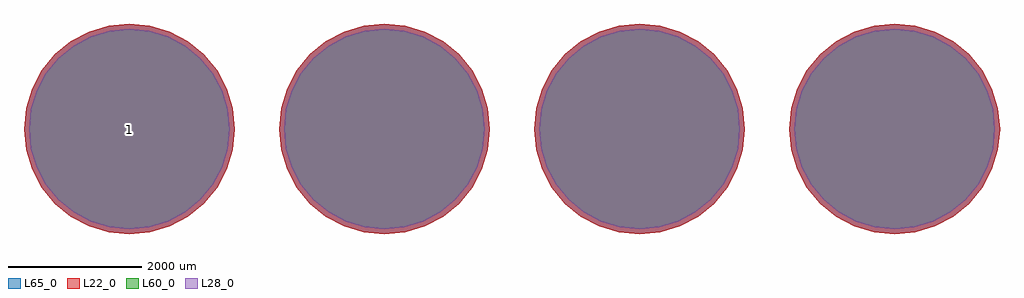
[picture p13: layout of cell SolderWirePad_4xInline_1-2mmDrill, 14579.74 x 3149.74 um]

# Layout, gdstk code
import gdstk
lib = gdstk.Library(unit=1e-6, precision=1e-09)
def P(c, l, *ps):  # polygons
    for p in ps: c.add(gdstk.Polygon(p, *l))
L22_0 = (22, 0)
L28_0 = (28, 0)
L60_0 = (60, 0)
L65_0 = (65, 0)

solderwirepad_4xinline_1 = lib.new_cell('SolderWirePad_4xInline_1-2mmDrill')
P(solderwirepad_4xinline_1, L22_0, [(7289.87,0),(7259.609,307.242),(7169.99,602.677),(7024.457,874.951),(6828.601,1113.601),(6589.951,1309.457),(6317.677,1454.99),(6022.242,1544.609),(5715,1574.87),(5407.758,1544.609),(5112.323,1454.99),(4840.049,1309.457),(4601.399,1113.601),(4405.543,874.951),(4260.01,602.677),(4170.391,307.242),(4140.13,0),(4170.391,-307.242),(4260.01,-602.677),(4405.543,-874.951),(4601.399,-1113.601),(4840.049,-1309.457),(5112.323,-1454.99),(5407.758,-1544.609),(5715,-1574.87),(6022.242,-1544.609),(6317.677,-1454.99),(6589.951,-1309.457),(6828.601,-1113.601),(7024.457,-874.951),(7169.99,-602.677),(7259.609,-307.242)],
  [(3479.87,0),(3449.609,307.242),(3359.99,602.677),(3214.457,874.951),(3018.601,1113.601),(2779.951,1309.457),(2507.677,1454.99),(2212.242,1544.609),(1905,1574.87),(1597.758,1544.609),(1302.323,1454.99),(1030.049,1309.457),(791.399,1113.601),(595.543,874.951),(450.01,602.677),(360.391,307.242),(330.13,0),(360.391,-307.242),(450.01,-602.677),(595.543,-874.951),(791.399,-1113.601),(1030.049,-1309.457),(1302.323,-1454.99),(1597.758,-1544.609),(1905,-1574.87),(2212.242,-1544.609),(2507.677,-1454.99),(2779.951,-1309.457),(3018.601,-1113.601),(3214.457,-874.951),(3359.99,-602.677),(3449.609,-307.242)],
  [(-330.13,0),(-360.391,307.242),(-450.01,602.677),(-595.543,874.951),(-791.399,1113.601),(-1030.049,1309.457),(-1302.323,1454.99),(-1597.758,1544.609),(-1905,1574.87),(-2212.242,1544.609),(-2507.677,1454.99),(-2779.951,1309.457),(-3018.601,1113.601),(-3214.457,874.951),(-3359.99,602.677),(-3449.609,307.242),(-3479.87,0),(-3449.609,-307.242),(-3359.99,-602.677),(-3214.457,-874.951),(-3018.601,-1113.601),(-2779.951,-1309.457),(-2507.677,-1454.99),(-2212.242,-1544.609),(-1905,-1574.87),(-1597.758,-1544.609),(-1302.323,-1454.99),(-1030.049,-1309.457),(-791.399,-1113.601),(-595.543,-874.951),(-450.01,-602.677),(-360.391,-307.242)],
  [(-4140.13,0),(-4170.391,307.242),(-4260.01,602.677),(-4405.543,874.951),(-4601.399,1113.601),(-4840.049,1309.457),(-5112.323,1454.99),(-5407.758,1544.609),(-5715,1574.87),(-6022.242,1544.609),(-6317.677,1454.99),(-6589.951,1309.457),(-6828.601,1113.601),(-7024.457,874.951),(-7169.99,602.677),(-7259.609,307.242),(-7289.87,0),(-7259.609,-307.242),(-7169.99,-602.677),(-7024.457,-874.951),(-6828.601,-1113.601),(-6589.951,-1309.457),(-6317.677,-1454.99),(-6022.242,-1544.609),(-5715,-1574.87),(-5407.758,-1544.609),(-5112.323,-1454.99),(-4840.049,-1309.457),(-4601.399,-1113.601),(-4405.543,-874.951),(-4260.01,-602.677),(-4170.391,-307.242)])
P(solderwirepad_4xinline_1, L28_0, [(7214.87,0),(7186.05,292.61),(7100.699,573.975),(6962.096,833.283),(6775.568,1060.568),(6548.283,1247.096),(6288.975,1385.699),(6007.61,1471.05),(5715,1499.87),(5422.39,1471.05),(5141.025,1385.699),(4881.717,1247.096),(4654.432,1060.568),(4467.904,833.283),(4329.301,573.975),(4243.95,292.61),(4215.13,0),(4243.95,-292.61),(4329.301,-573.975),(4467.904,-833.283),(4654.432,-1060.568),(4881.717,-1247.096),(5141.025,-1385.699),(5422.39,-1471.05),(5715,-1499.87),(6007.61,-1471.05),(6288.975,-1385.699),(6548.283,-1247.096),(6775.568,-1060.568),(6962.096,-833.283),(7100.699,-573.975),(7186.05,-292.61)],
  [(3404.87,0),(3376.05,292.61),(3290.699,573.975),(3152.096,833.283),(2965.568,1060.568),(2738.283,1247.096),(2478.975,1385.699),(2197.61,1471.05),(1905,1499.87),(1612.39,1471.05),(1331.025,1385.699),(1071.717,1247.096),(844.432,1060.568),(657.904,833.283),(519.301,573.975),(433.95,292.61),(405.13,0),(433.95,-292.61),(519.301,-573.975),(657.904,-833.283),(844.432,-1060.568),(1071.717,-1247.096),(1331.025,-1385.699),(1612.39,-1471.05),(1905,-1499.87),(2197.61,-1471.05),(2478.975,-1385.699),(2738.283,-1247.096),(2965.568,-1060.568),(3152.096,-833.283),(3290.699,-573.975),(3376.05,-292.61)],
  [(-405.13,0),(-433.95,292.61),(-519.301,573.975),(-657.904,833.283),(-844.432,1060.568),(-1071.717,1247.096),(-1331.025,1385.699),(-1612.39,1471.05),(-1905,1499.87),(-2197.61,1471.05),(-2478.975,1385.699),(-2738.283,1247.096),(-2965.568,1060.568),(-3152.096,833.283),(-3290.699,573.975),(-3376.05,292.61),(-3404.87,0),(-3376.05,-292.61),(-3290.699,-573.975),(-3152.096,-833.283),(-2965.568,-1060.568),(-2738.283,-1247.096),(-2478.975,-1385.699),(-2197.61,-1471.05),(-1905,-1499.87),(-1612.39,-1471.05),(-1331.025,-1385.699),(-1071.717,-1247.096),(-844.432,-1060.568),(-657.904,-833.283),(-519.301,-573.975),(-433.95,-292.61)],
  [(-4215.13,0),(-4243.95,292.61),(-4329.301,573.975),(-4467.904,833.283),(-4654.432,1060.568),(-4881.717,1247.096),(-5141.025,1385.699),(-5422.39,1471.05),(-5715,1499.87),(-6007.61,1471.05),(-6288.975,1385.699),(-6548.283,1247.096),(-6775.568,1060.568),(-6962.096,833.283),(-7100.699,573.975),(-7186.05,292.61),(-7214.87,0),(-7186.05,-292.61),(-7100.699,-573.975),(-6962.096,-833.283),(-6775.568,-1060.568),(-6548.283,-1247.096),(-6288.975,-1385.699),(-6007.61,-1471.05),(-5715,-1499.87),(-5422.39,-1471.05),(-5141.025,-1385.699),(-4881.717,-1247.096),(-4654.432,-1060.568),(-4467.904,-833.283),(-4329.301,-573.975),(-4243.95,-292.61)])
P(solderwirepad_4xinline_1, L60_0, [(7214.87,0),(7186.05,292.61),(7100.699,573.975),(6962.096,833.283),(6775.568,1060.568),(6548.283,1247.096),(6288.975,1385.699),(6007.61,1471.05),(5715,1499.87),(5422.39,1471.05),(5141.025,1385.699),(4881.717,1247.096),(4654.432,1060.568),(4467.904,833.283),(4329.301,573.975),(4243.95,292.61),(4215.13,0),(4243.95,-292.61),(4329.301,-573.975),(4467.904,-833.283),(4654.432,-1060.568),(4881.717,-1247.096),(5141.025,-1385.699),(5422.39,-1471.05),(5715,-1499.87),(6007.61,-1471.05),(6288.975,-1385.699),(6548.283,-1247.096),(6775.568,-1060.568),(6962.096,-833.283),(7100.699,-573.975),(7186.05,-292.61)],
  [(3404.87,0),(3376.05,292.61),(3290.699,573.975),(3152.096,833.283),(2965.568,1060.568),(2738.283,1247.096),(2478.975,1385.699),(2197.61,1471.05),(1905,1499.87),(1612.39,1471.05),(1331.025,1385.699),(1071.717,1247.096),(844.432,1060.568),(657.904,833.283),(519.301,573.975),(433.95,292.61),(405.13,0),(433.95,-292.61),(519.301,-573.975),(657.904,-833.283),(844.432,-1060.568),(1071.717,-1247.096),(1331.025,-1385.699),(1612.39,-1471.05),(1905,-1499.87),(2197.61,-1471.05),(2478.975,-1385.699),(2738.283,-1247.096),(2965.568,-1060.568),(3152.096,-833.283),(3290.699,-573.975),(3376.05,-292.61)],
  [(-405.13,0),(-433.95,292.61),(-519.301,573.975),(-657.904,833.283),(-844.432,1060.568),(-1071.717,1247.096),(-1331.025,1385.699),(-1612.39,1471.05),(-1905,1499.87),(-2197.61,1471.05),(-2478.975,1385.699),(-2738.283,1247.096),(-2965.568,1060.568),(-3152.096,833.283),(-3290.699,573.975),(-3376.05,292.61),(-3404.87,0),(-3376.05,-292.61),(-3290.699,-573.975),(-3152.096,-833.283),(-2965.568,-1060.568),(-2738.283,-1247.096),(-2478.975,-1385.699),(-2197.61,-1471.05),(-1905,-1499.87),(-1612.39,-1471.05),(-1331.025,-1385.699),(-1071.717,-1247.096),(-844.432,-1060.568),(-657.904,-833.283),(-519.301,-573.975),(-433.95,-292.61)],
  [(-4215.13,0),(-4243.95,292.61),(-4329.301,573.975),(-4467.904,833.283),(-4654.432,1060.568),(-4881.717,1247.096),(-5141.025,1385.699),(-5422.39,1471.05),(-5715,1499.87),(-6007.61,1471.05),(-6288.975,1385.699),(-6548.283,1247.096),(-6775.568,1060.568),(-6962.096,833.283),(-7100.699,573.975),(-7186.05,292.61),(-7214.87,0),(-7186.05,-292.61),(-7100.699,-573.975),(-6962.096,-833.283),(-6775.568,-1060.568),(-6548.283,-1247.096),(-6288.975,-1385.699),(-6007.61,-1471.05),(-5715,-1499.87),(-5422.39,-1471.05),(-5141.025,-1385.699),(-4881.717,-1247.096),(-4654.432,-1060.568),(-4467.904,-833.283),(-4329.301,-573.975),(-4243.95,-292.61)])
P(solderwirepad_4xinline_1, L65_0, [(7289.87,0),(7259.609,307.242),(7169.99,602.677),(7024.457,874.951),(6828.601,1113.601),(6589.951,1309.457),(6317.677,1454.99),(6022.242,1544.609),(5715,1574.87),(5407.758,1544.609),(5112.323,1454.99),(4840.049,1309.457),(4601.399,1113.601),(4405.543,874.951),(4260.01,602.677),(4170.391,307.242),(4140.13,0),(4170.391,-307.242),(4260.01,-602.677),(4405.543,-874.951),(4601.399,-1113.601),(4840.049,-1309.457),(5112.323,-1454.99),(5407.758,-1544.609),(5715,-1574.87),(6022.242,-1544.609),(6317.677,-1454.99),(6589.951,-1309.457),(6828.601,-1113.601),(7024.457,-874.951),(7169.99,-602.677),(7259.609,-307.242)],
  [(3479.87,0),(3449.609,307.242),(3359.99,602.677),(3214.457,874.951),(3018.601,1113.601),(2779.951,1309.457),(2507.677,1454.99),(2212.242,1544.609),(1905,1574.87),(1597.758,1544.609),(1302.323,1454.99),(1030.049,1309.457),(791.399,1113.601),(595.543,874.951),(450.01,602.677),(360.391,307.242),(330.13,0),(360.391,-307.242),(450.01,-602.677),(595.543,-874.951),(791.399,-1113.601),(1030.049,-1309.457),(1302.323,-1454.99),(1597.758,-1544.609),(1905,-1574.87),(2212.242,-1544.609),(2507.677,-1454.99),(2779.951,-1309.457),(3018.601,-1113.601),(3214.457,-874.951),(3359.99,-602.677),(3449.609,-307.242)],
  [(-330.13,0),(-360.391,307.242),(-450.01,602.677),(-595.543,874.951),(-791.399,1113.601),(-1030.049,1309.457),(-1302.323,1454.99),(-1597.758,1544.609),(-1905,1574.87),(-2212.242,1544.609),(-2507.677,1454.99),(-2779.951,1309.457),(-3018.601,1113.601),(-3214.457,874.951),(-3359.99,602.677),(-3449.609,307.242),(-3479.87,0),(-3449.609,-307.242),(-3359.99,-602.677),(-3214.457,-874.951),(-3018.601,-1113.601),(-2779.951,-1309.457),(-2507.677,-1454.99),(-2212.242,-1544.609),(-1905,-1574.87),(-1597.758,-1544.609),(-1302.323,-1454.99),(-1030.049,-1309.457),(-791.399,-1113.601),(-595.543,-874.951),(-450.01,-602.677),(-360.391,-307.242)],
  [(-4140.13,0),(-4170.391,307.242),(-4260.01,602.677),(-4405.543,874.951),(-4601.399,1113.601),(-4840.049,1309.457),(-5112.323,1454.99),(-5407.758,1544.609),(-5715,1574.87),(-6022.242,1544.609),(-6317.677,1454.99),(-6589.951,1309.457),(-6828.601,1113.601),(-7024.457,874.951),(-7169.99,602.677),(-7259.609,307.242),(-7289.87,0),(-7259.609,-307.242),(-7169.99,-602.677),(-7024.457,-874.951),(-6828.601,-1113.601),(-6589.951,-1309.457),(-6317.677,-1454.99),(-6022.242,-1544.609),(-5715,-1574.87),(-5407.758,-1544.609),(-5112.323,-1454.99),(-4840.049,-1309.457),(-4601.399,-1113.601),(-4405.543,-874.951),(-4260.01,-602.677),(-4170.391,-307.242)])
solderwirepad_4xinline_1.add(gdstk.Label('1', (-5715,0), layer=28, texttype=0))
solderwirepad_4xinline_1.add(gdstk.Label('type', (-635,-3175), layer=9, texttype=0))
solderwirepad_4xinline_1.add(gdstk.Label('devicename', (0,3175), layer=9, texttype=0))

lib.write_gds('SolderWirePad_4xInline_1-2mmDrill.gds')
